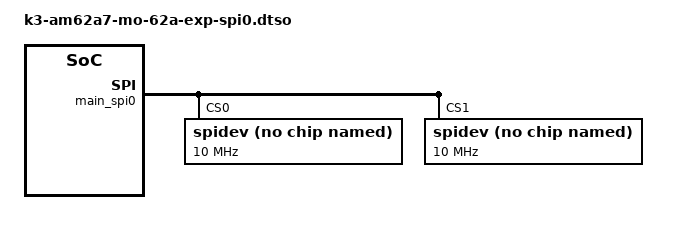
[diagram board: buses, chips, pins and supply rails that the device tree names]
// SPDX-License-Identifier: GPL-2.0
/*
 * DT Overlay for MO-62A 40-pin expansion header — SPI0 mode
 *
 * Enables SPI0 on 40-pin header:
 *   Pins 19,21,23,24,26: SPI0 D0/D1/CLK/CS0/CS1 (GPIO1_18/19/17/15/16)
 *
 * GPIO1 pinctrl updated to exclude SPI0 pins (GPIO1_15-19).
 * All other 40-pin header pins remain GPIO.
 *
 * Usage: add to extlinux.conf label:
 *   fdtoverlays /ti/k3-am62a7-mo-62a-exp-spi0.dtbo
 */

/dts-v1/;
/plugin/;

#include "k3-pinctrl.h"
#define PIN_DRIVE_STRENGTH_NOMINAL 0

/* Reduced GPIO1 pinctrl — excludes SPI0 pins (GPIO1_15/16/17/18/19) */
&main_pmx0 {
	gpio1_spi0_mode_pins: gpio1-spi0-mode-pins {
		pinctrl-single,pins = <
			AM62AX_IOPAD(0x0178, PIN_INPUT|PIN_DRIVE_STRENGTH_NOMINAL, 7) /* GPIO1_0  EXP Pin12 */
			AM62AX_IOPAD(0x017c, PIN_INPUT|PIN_DRIVE_STRENGTH_NOMINAL, 7) /* GPIO1_1  AUD_RSTn */
			AM62AX_IOPAD(0x0180, PIN_INPUT|PIN_DRIVE_STRENGTH_NOMINAL, 7) /* GPIO1_2  EXP Pin40 */
			AM62AX_IOPAD(0x0188, PIN_INPUT|PIN_DRIVE_STRENGTH_NOMINAL, 7) /* GPIO1_4 */
			AM62AX_IOPAD(0x018c, PIN_INPUT|PIN_DRIVE_STRENGTH_NOMINAL, 7) /* GPIO1_5  EXP Pin38 */
			AM62AX_IOPAD(0x0190, PIN_INPUT|PIN_DRIVE_STRENGTH_NOMINAL, 7) /* GPIO1_6  ETHINTn */
			AM62AX_IOPAD(0x0194, PIN_INPUT, 7)                             /* GPIO1_7  EEP_WC */
			AM62AX_IOPAD(0x019c, PIN_INPUT|PIN_DRIVE_STRENGTH_NOMINAL, 7) /* GPIO1_9 */
			AM62AX_IOPAD(0x01ac, PIN_INPUT|PIN_DRIVE_STRENGTH_NOMINAL, 7) /* GPIO1_13 EXP Pin33 */
			AM62AX_IOPAD(0x01b0, PIN_INPUT|PIN_DRIVE_STRENGTH_NOMINAL, 7) /* GPIO1_14 EXP Pin32 */
			/* GPIO1_15 (0x01b4) excluded — claimed by SPI0_CS0 */
			/* GPIO1_16 (0x01b8) excluded — claimed by SPI0_CS1 */
			/* GPIO1_17 (0x01bc) excluded — claimed by SPI0_CLK */
			/* GPIO1_18 (0x01c0) excluded — claimed by SPI0_D0 */
			/* GPIO1_19 (0x01c4) excluded — claimed by SPI0_D1 */
			AM62AX_IOPAD(0x01d0, PIN_INPUT|PIN_DRIVE_STRENGTH_NOMINAL, 7) /* GPIO1_22 EXP Pin15 */
			AM62AX_IOPAD(0x01d4, PIN_INPUT|PIN_DRIVE_STRENGTH_NOMINAL, 7) /* GPIO1_23 EXP Pin11 */
			AM62AX_IOPAD(0x01d8, PIN_INPUT|PIN_DRIVE_STRENGTH_NOMINAL, 7) /* GPIO1_24 EXP Pin10 */
			AM62AX_IOPAD(0x01dc, PIN_INPUT|PIN_DRIVE_STRENGTH_NOMINAL, 7) /* GPIO1_25 EXP Pin8 */
			AM62AX_IOPAD(0x01f4, PIN_INPUT|PIN_DRIVE_STRENGTH_NOMINAL, 7) /* GPIO1_31 EXTINTn */
		>;
	};
};

&main_gpio1 {
	pinctrl-names = "default";
	pinctrl-0 = <&gpio1_spi0_mode_pins>;
};

/* Pins 19,21,23,24,26 — SPI0 D0/D1/CLK/CS0/CS1 */
&main_spi0 {
	status = "okay";
	pinctrl-names = "default";
	pinctrl-0 = <&main_spi0_pins_default>;

	spidev@0 {
		compatible = "rohm,dh2228fv";
		reg = <0>;
		spi-max-frequency = <10000000>;
	};

	spidev@1 {
		compatible = "rohm,dh2228fv";
		reg = <1>;
		spi-max-frequency = <10000000>;
	};
};
